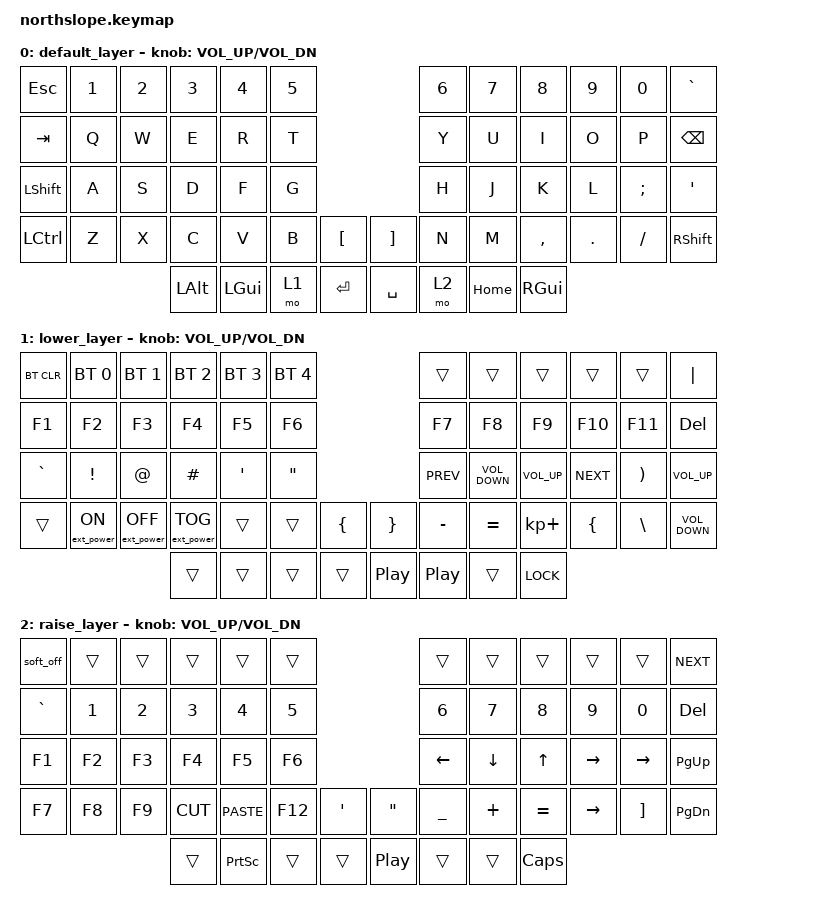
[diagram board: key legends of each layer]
/*
 * Copyright (c) 2020 The ZMK Contributors
 *
 * SPDX-License-Identifier: MIT
 */

#include <behaviors.dtsi>
#include <dt-bindings/zmk/keys.h>
#include <dt-bindings/zmk/bt.h>
#include <dt-bindings/zmk/ext_power.h>

&soft_off {
    hold-time-ms = <5000>; // Only turn off it the key is held for 5 seconds or longer.
};

/ {
    keymap {
        compatible = "zmk,keymap";
        display-name = "Base";
        default_layer {
// ------------------------------------------------------------------------------------------------------------
// |  ESC  |  1  |  2  |  3   |  4   |  5   |                   |  6   |  7    |  8    |  9   |   0   |   `   |
// |  TAB  |  Q  |  W  |  E   |  R   |  T   |                   |  Y   |  U    |  I    |  O   |   P   |   -   |
// |  CTRL |  A  |  S  |  D   |  F   |  G   |                   |  H   |  J    |  K    |  L   |   ;   |   '   |
// | SHIFT |  Z  |  X  |  C   |  V   |  B   |   "["  |  |  "]"  |  N   |  M    |  ,    |  .   |   /   | SHIFT |
//                     | ALT  | GUI  | LOWER|  SPACE |  | ENTER | RAISE| BSPC  | GUI   |
            bindings = <
&kp ESC   &kp N1 &kp N2 &kp N3   &kp N4   &kp N5                     &kp N6 &kp N7   &kp N8    &kp N9  &kp N0   &kp GRAVE
&kp TAB   &kp Q  &kp W  &kp E    &kp R    &kp T                      &kp Y  &kp U    &kp I     &kp O   &kp P    &kp BSPC
&kp LSHFT &kp A  &kp S  &kp D    &kp F    &kp G                      &kp H  &kp J    &kp K     &kp L   &kp SEMI &kp SQT
&kp LCTRL &kp Z  &kp X  &kp C    &kp V    &kp B  &kp LBKT   &kp RBKT &kp N  &kp M    &kp COMMA &kp DOT &kp FSLH &kp RSHFT
                        &kp LALT &kp LGUI &mo 1  &kp RET    &kp SPACE  &mo 2  &kp HOME &kp RGUI
            >;

            sensor-bindings = <&inc_dec_kp C_VOL_UP C_VOL_DN>;
        };

        lower_layer {
// ------------------------------------------------------------------------------------------------------------
// | BTCLR | BT1 | BT2 |  BT3 |  BT4 |  BT5 |                   |      |       |       |      |       |       |
// |  F1   |  F2 |  F3 |  F4  |  F5  |  F6  |                   |  F7  |  F8   |  F9   |  F10 |  F11  |  F12  |
// |   `   |  !  |  @  |  #   |  $   |  %   |                   |  ^   |  &    |  *    |  (   |   )   |   ~   |
// |       |     |     |      |      |      |        |  |       |      |  _    |  +    |  {   |   }   |  "|"  |
//                     |      |      |      |        |  |       |      |       |       |
            bindings = <
&bt BT_CLR &bt BT_SEL 0     &bt BT_SEL 1      &bt BT_SEL 2      &bt BT_SEL 3 &bt BT_SEL 4                   &trans     &trans    &trans          &trans    &trans    &kp PIPE 
&kp F1     &kp F2           &kp F3            &kp F4            &kp F5       &kp F6                         &kp F7     &kp F8    &kp F9          &kp F10   &kp F11   &kp DEL
&kp GRAVE  &kp EXCL         &kp AT            &kp HASH          &kp SQT      &kp DQT                        &kp C_PREV &kp C_VOLUME_DOWN  &kp C_VOLUME_UP &kp C_NEXT  &kp RPAR  &kp C_VOLUME_UP
&trans     &ext_power EP_ON &ext_power EP_OFF &ext_power EP_TOG &trans       &trans    &kp LBRC   &kp RBRC  &kp MINUS  &kp EQUAL &kp KP_PLUS     &kp LBRC  &kp BSLH  &kp C_VOLUME_DOWN
                                              &trans            &trans       &trans    &trans     &kp C_PP  &kp C_PP     &trans    &kp K_LOCK
            >;

            sensor-bindings = <&inc_dec_kp C_VOL_UP C_VOL_DN>;
        };
        raise_layer {
// ------------------------------------------------------------------------------------------------------------
// |       |     |     |      |      |      |                   |      |       |       |      |       |       |
// |   `   |  1  |  2  |  3   |  4   |  5   |                   |  6   |   7   |   8   |  9   |   0   |       |
// |   F1  |  F2 |  F3 |  F4  |  F5  |  F6  |                   |      |   <-  |   v   |  ^   |  ->   |       |
// |   F7  |  F8 |  F9 |  F10 |  F11 |  F12 |        |  |       |  +   |   -   |   =   |  [   |   ]   |   \   |
//                     |      |      |      |        |  |       |      |       |       |
            bindings = <
&soft_off    &trans &trans &trans    &trans        &trans                       &trans         &trans    &trans    &trans    &trans    &kp C_NEXT
&kp GRAVE &kp N1 &kp N2 &kp N3    &kp N4        &kp N5                       &kp N6         &kp N7    &kp N8    &kp N9    &kp N0    &kp DEL
&kp F1    &kp F2 &kp F3 &kp F4    &kp F5        &kp F6                       &kp LEFT       &kp DOWN  &kp UP    &kp RIGHT &kp RIGHT &kp PG_UP
&kp F7    &kp F8 &kp F9 &kp K_CUT &kp K_PASTE   &kp F12   &kp SQT   &kp DQT  &kp UNDERSCORE &kp PLUS  &kp EQUAL &kp RIGHT &kp RBKT  &kp PAGE_DOWN
                        &trans    &kp PSCRN     &trans    &trans    &kp C_PP &trans         &trans         &kp CLCK
            >;

            sensor-bindings = <&inc_dec_kp C_VOL_UP C_VOL_DN>;
        };
    };
};
